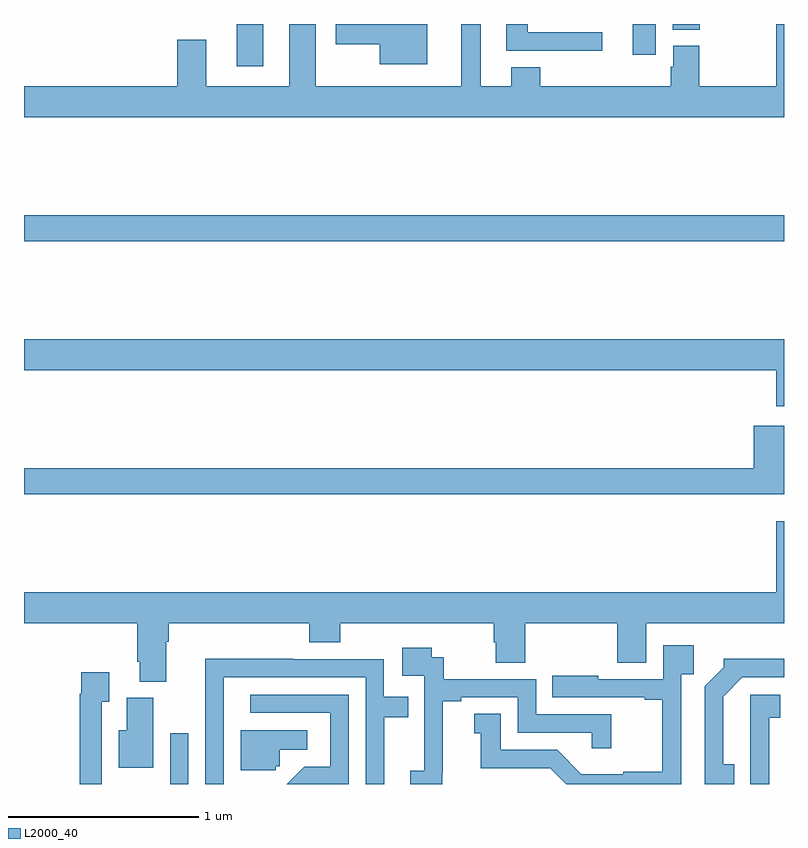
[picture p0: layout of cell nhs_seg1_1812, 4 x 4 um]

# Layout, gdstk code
import gdstk
lib = gdstk.Library(unit=1e-6, precision=1e-09)
def R(c, l, rs):  # rectangles x0, y0, x1, y1
    for r in rs: c.add(gdstk.rectangle(r[:2], r[2:], *l))
def P(c, l, *ps):  # polygons
    for p in ps: c.add(gdstk.Polygon(p, *l))
L2000_40 = (2000, 40)

nhs_seg1_1812 = lib.new_cell('nhs_seg1_1812')
R(nhs_seg1_1812, L2000_40, [(209.769,572.199,209.865,572.467), (209,575.056,213,575.192), (210.119,575.976,210.259,576.199), (212.204,576.036,212.326,576.199), (212.414,576.169,212.556,576.199)])
P(nhs_seg1_1812, L2000_40, [(213,576.199),(212.96,576.199),(212.96,575.872),(212.553,575.872),(212.553,576.084),(212.417,576.084),(212.417,575.973),(212.405,575.973),(212.405,575.872),(211.718,575.872),(211.718,575.971),(211.565,575.971),(211.565,575.872),(211.405,575.872),(211.405,576.199),(211.301,576.199),(211.301,575.872),(210.535,575.872),(210.535,576.199),(210.395,576.199),(210.395,575.872),(209.959,575.872),(209.959,576.115),(209.807,576.115),(209.807,575.872),(209,575.872),(209,575.708),(213,575.708)],
  [(212.044,576.156),(211.651,576.156),(211.651,576.199),(211.538,576.199),(211.538,576.059),(212.044,576.059)],
  [(211.123,576.199),(210.642,576.199),(210.642,576.092),(210.872,576.092),(210.872,575.987),(211.123,575.987)],
  [(213,574.54),(209,574.54),(209,574.376),(212.96,574.376),(212.96,574.188),(213,574.188)],
  [(213,574.084),(212.84,574.084),(212.84,573.86),(209,573.86),(209,573.724),(213,573.724)],
  [(209.749,572.948),(209.762,572.948),(209.762,573.044),(210.5,573.044),(210.5,572.945),(210.665,572.945),(210.665,573.044),(211.472,573.044),(211.472,572.946),(211.484,572.946),(211.484,572.836),(211.637,572.836),(211.637,573.044),(212.123,573.044),(212.123,572.836),(212.275,572.836),(212.275,573.044),(213,573.044),(213,573.583),(212.96,573.583),(212.96,573.208),(209,573.208),(209,573.044),(209.597,573.044),(209.597,572.842),(209.609,572.842),(209.609,572.737),(209.749,572.737)],
  [(212.46,572.777),(212.525,572.777),(212.525,572.929),(212.364,572.929),(212.364,572.751),(212.023,572.751),(212.023,572.77),(211.78,572.77),(211.78,572.655),(212.267,572.655),(212.267,572.643),(212.359,572.643),(212.359,572.263),(212.153,572.263),(212.153,572.251),(211.934,572.251),(211.806,572.379),(211.51,572.379),(211.51,572.57),(211.37,572.57),(211.37,572.467),(211.403,572.467),(211.403,572.283),(211.77,572.283),(211.854,572.199),(212.46,572.199)],
  [(211.202,572.257),(211.204,572.257),(211.204,572.635),(211.3,572.635),(211.3,572.655),(211.599,572.655),(211.599,572.469),(211.989,572.469),(211.989,572.388),(212.09,572.388),(212.09,572.565),(211.695,572.565),(211.695,572.751),(211.208,572.751),(211.208,572.865),(211.146,572.865),(211.146,572.917),(210.99,572.917),(210.99,572.769),(211.107,572.769),(211.107,572.465),(211.106,572.465),(211.106,572.268),(211.032,572.268),(211.032,572.199),(211.202,572.199)],
  [(212.738,572.303),(212.68,572.303),(212.68,572.659),(212.781,572.76),(213,572.76),(213,572.858),(212.682,572.858),(212.682,572.813),(212.583,572.714),(212.583,572.199),(212.738,572.199)],
  [(210.051,572.76),(210.798,572.76),(210.798,572.199),(210.895,572.199),(210.895,572.55),(211.022,572.55),(211.022,572.658),(210.894,572.658),(210.894,572.856),(210.416,572.856),(210.416,572.858),(209.954,572.858),(209.954,572.554),(209.955,572.554),(209.955,572.199),(210.051,572.199)],
  [(209.409,572.632),(209.449,572.632),(209.449,572.788),(209.301,572.788),(209.301,572.675),(209.293,572.675),(209.293,572.199),(209.409,572.199)],
  [(210.708,572.67),(210.192,572.67),(210.192,572.574),(210.612,572.574),(210.612,572.289),(210.474,572.289),(210.384,572.199),(210.708,572.199)],
  [(212.922,572.547),(212.98,572.547),(212.98,572.668),(212.822,572.668),(212.822,572.392),(212.823,572.392),(212.823,572.199),(212.922,572.199)],
  [(209.68,572.652),(209.54,572.652),(209.54,572.482),(209.498,572.482),(209.498,572.285),(209.68,572.285)],
  [(210.324,572.292),(210.345,572.292),(210.345,572.378),(210.49,572.378),(210.49,572.482),(210.14,572.482),(210.14,572.271),(210.324,572.271)])

lib.write_gds('nhs_seg1_1812.gds')
